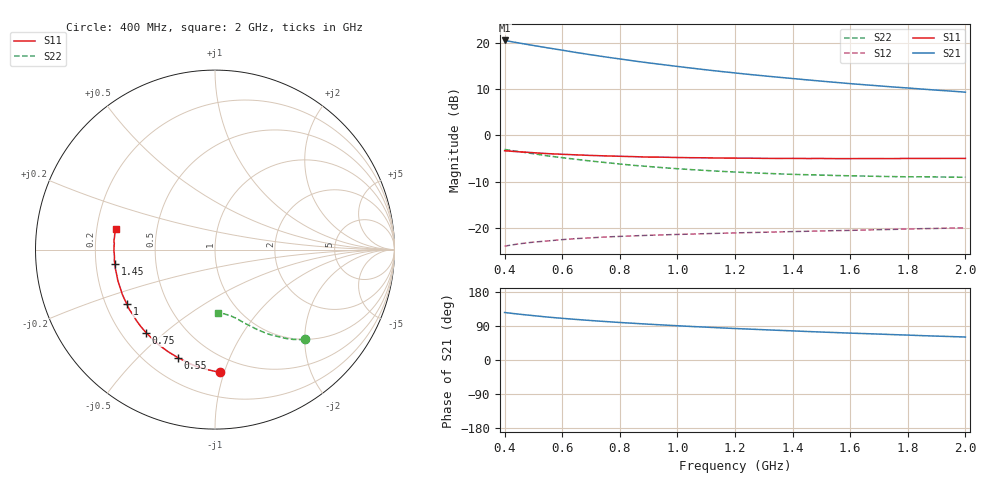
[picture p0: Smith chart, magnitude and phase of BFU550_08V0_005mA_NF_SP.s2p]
! Filename:  P:\Prog\Test\Noise\ATS_data\Testdata_Net\06 Compressed Noise after Statistics\BFU550_APG2013_43_D05_08p0V_005mA_NF_CM01_D.sf
! Date/Time: Fri 26/Apr/2013 13:07:23
! BFU550_APG2013_43_D05_08p0V_1to35mA_NF_CM01_Bias4_R.sf
! Noise Parameter Data File
! BFU550_APG2013_43_D05_08p0V_1to35mA_NF_CM01
! Date/time: Thu Apr 25 17:34:01 2013
! VAR V_out= 8.000000
! VAR I_out= 4.995000
! VAR V_in= 0.807800
! VAR I_in= 0.052305
! Device data file deembeded for feedlines and parallel
! Original file: \06 Compressed Noise after Statistics\BFU550_APG2013_43_D05_08p0V_005mA_NF_CM01_R.sf
! Feed-files: PR047V01_250413_Feed1.s2p, PR047V01_250413_Feed2.s2p
! Parallel-file: PR047V01_250413_Par.s2p
# MHz S MA R 50
!  Freq-MHz  S11-mag  S11-arg  S21-mag  S21-arg  S12-mag  S12-arg  S22-mag  S22-arg
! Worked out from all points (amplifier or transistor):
!   37 points, 400 MHz to 2 GHz, reference 50 ohm
!   highest |S21| = 20.5 dB at 400 MHz (marker M1)
!   |S21| within 3 dB of that: start of sweep to 689.9 MHz
!   unconditionally stable (mu >= 1): nowhere
!   at 500 MHz: K = 0.30, MSG = 21.3 dB, |S12| = -23.1 dB
!   at 1.1 GHz: K = 0.61, MSG = 17.7 dB, |S12| = -21.2 dB
!   at 2 GHz: K = 0.96, MSG = 14.7 dB, |S12| = -20.0 dB
!   lowest NFmin = 0.60 dB at 420 MHz
!   S11 on the Smith chart (normalised r, x): 400 MHz: 0.38, -0.97; 550 MHz: 0.33, -0.66; 750 MHz: 0.30, -0.44; 1 GHz: 0.29, -0.26; 1.45 GHz: 0.28, -0.07; 2 GHz: 0.28, +0.09
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400  0.6836 -87.6  10.64 125.3  0.06361 48.6  0.7065 -45.1
433  0.6716 -92.7  10.2 122.4  0.06614 46.8  0.6814 -47.3
460  0.663 -96.7  9.86 120.2  0.06799 45.3  0.663 -49.0
500  0.6511 -102.2  9.388 117.1  0.07029 43.5  0.635 -51.3
550  0.6363 -109.0  8.846 113.2  0.0725 41.5  0.6017 -53.8
600  0.6262 -114.6  8.354 110.0  0.07487 39.9  0.5754 -56.1
650  0.6169 -120.0  7.874 107.0  0.07684 38.4  0.5515 -58.1
700  0.6083 -124.8  7.449 104.1  0.07832 37.2  0.5292 -59.9
750  0.6017 -129.6  7.062 101.5  0.07991 36.2  0.51 -61.6
800  0.5957 -133.8  6.714 99.0  0.08114 35.3  0.4916 -63.2
850  0.5903 -137.7  6.387 96.7  0.08223 34.6  0.475 -64.5
900  0.5839 -141.6  6.092 94.5  0.08338 34.0  0.4618 -65.9
950  0.5825 -145.0  5.826 92.4  0.08425 33.5  0.4485 -67.3
1000  0.5776 -148.2  5.574 90.4  0.0852 33.1  0.4373 -68.4
1050  0.5747 -151.6  5.34 88.4  0.08594 32.7  0.4271 -69.7
1200  0.5686 -160.0  4.74 83.1  0.08842 32.1  0.4026 -72.8
1300  0.5656 -164.9  4.41 79.9  0.08995 32.0  0.3901 -74.7
1450  0.5636 -171.8  3.99 75.2  0.09217 32.0  0.3765 -77.5
1500  0.5641 -173.8  3.865 73.8  0.0929 32.1  0.3731 -78.5
1600  0.5618 -178.1  3.632 70.9  0.09425 32.3  0.3666 -80.3
1750  0.5622 176.4  3.341 67.0  0.09657 32.8  0.3593 -83.0
2000  0.5651 168.3  2.937 60.6  0.1004 33.9  0.3538 -87.4
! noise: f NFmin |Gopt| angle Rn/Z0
400  0.6247  0.1941  42.77  0.1114
460  0.6201  0.1694  57.37  0.0949
600  0.6394  0.1924  63.39  0.0974
800  0.699  0.1936  83.65  0.0942
1000  0.7317  0.234  95.28  0.0906
1200  0.7592  0.2458  110.8  0.0865
1400  0.8039  0.2839  123.3  0.0771
1600  0.854  0.2956  141.6  0.0679
1800  0.7994  0.3457  153.9  0.0547
2000  0.9342  0.3741  156  0.0598
